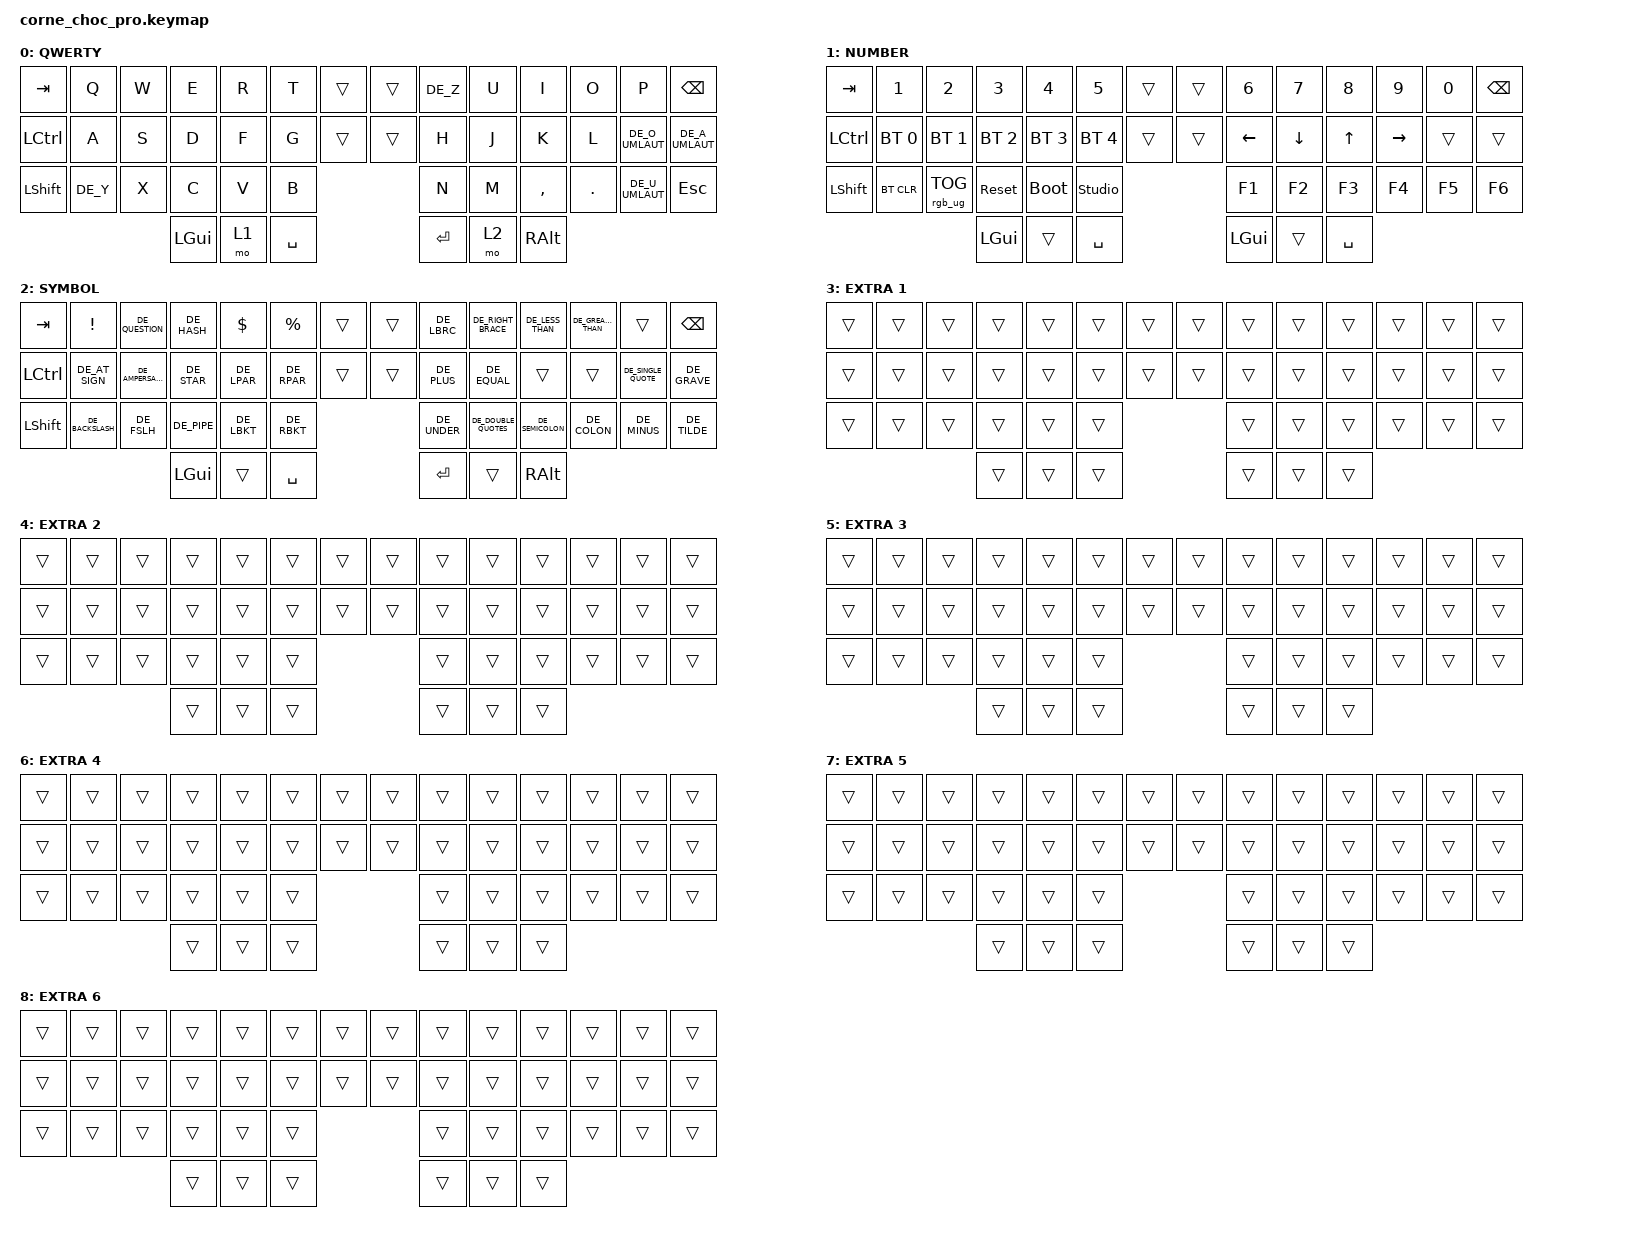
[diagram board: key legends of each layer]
/*
 * Copyright (c) 2020 The ZMK Contributors
 *
 * SPDX-License-Identifier: MIT
 */

#include "keys_de.h"
#include <behaviors.dtsi>
#include <dt-bindings/zmk/bt.h>
#include <dt-bindings/zmk/keys.h>
#include <dt-bindings/zmk/rgb.h>

/ {
    chosen { zmk,physical-layout = &default_layout; };
};

/ {
    combos {
        compatible = "zmk,combos";

        Doppelpunkt {
            bindings = <&kp DE_COLON>;
            key-positions = <28 26>;
            layers = <0>;
        };
    };

    keymap {
        compatible = "zmk,keymap";

        default_layer {
            display-name = "QWERTY";

            // --------------------------------------------------------------------------------
            // |  TAB |  Q  |  W  |  E  |  R  |  T  |  MUTE |  PP   |  Y  |  U   |  I  |  O  |  P  | BSPC |
            // | CTRL |  A  |  S  |  D  |  F  |  G  |  LALT |  RALT |  H  |  J   |  K  |  L  |  ;  |  '   |
            // | SHFT |  Z  |  X  |  C  |  V  |  B  |               |  N  |  M   |  ,  |  .  |  /  | ESC  |
            //                    | GUI | LWR | SPC |               | ENT | RSE  | ALT |

            bindings = <
&kp TAB    &kp Q     &kp W  &kp E     &kp R  &kp T      &trans  &trans  &kp DE_Z  &kp U  &kp I      &kp O    &kp P            &kp BSPC
&kp LCTRL  &kp A     &kp S  &kp D     &kp F  &kp G      &trans  &trans  &kp H     &kp J  &kp K      &kp L    &kp DE_O_UMLAUT  &kp DE_A_UMLAUT
&kp LSHFT  &kp DE_Y  &kp X  &kp C     &kp V  &kp B                      &kp N     &kp M  &kp COMMA  &kp DOT  &kp DE_U_UMLAUT  &kp ESC
                            &kp LGUI  &mo 1  &kp SPACE                  &kp RET   &mo 2  &kp RALT
            >;
        };

        lower_layer {
            display-name = "NUMBER";

            // -----------------------------------------------------------------------------------------
            // |  TAB |  1  |  2  |  3  |  4  |  5    |  LCTRL | RCTRL |  6  |  7  |  8  |  9  |  0  | BSPC |
            // | CTRL | BT1 | BT2 | BT3 | BT4 | BT5   |  LALT  | RALT  | LFT | DWN |  UP | RGT |     |      |
            // | SHFT | BTCR| RGB | RST | BOOT| Unlock|        |       |     |     |     |     |     |      |
            //                    | GUI |     | SPC   |        | ENT   |     | ALT |

            bindings = <
&kp TAB    &kp N1        &kp N2           &kp N3        &kp N4        &kp N5          &trans  &trans  &kp N6    &kp N7    &kp N8     &kp N9     &kp N0  &kp BSPC
&kp LCTRL  &bt BT_SEL 0  &bt BT_SEL 1     &bt BT_SEL 2  &bt BT_SEL 3  &bt BT_SEL 4    &trans  &trans  &kp LEFT  &kp DOWN  &kp UP     &kp RIGHT  &trans  &trans
&kp LSHFT  &bt BT_CLR    &rgb_ug RGB_TOG  &sys_reset    &bootloader   &studio_unlock                  &kp F1    &kp F2    &kp F3     &kp F4     &kp F5  &kp F6
                                          &kp LGUI      &trans        &kp SPACE                       &kp LGUI  &trans    &kp SPACE
            >;
        };

        raise_layer {
            display-name = "SYMBOL";

            // -----------------------------------------------------------------------------------------
            // |  TAB |  !  |  @  |  #  |  $  |  %  | LCTRL | RCTRL |  ^  |  &  |  *  |  (  |  )  | BSPC |
            // | CTRL |     |     |     |     |     |  LALT | RALT  |  -  |  =  |  [  |  ]  |  \  |  `   |
            // | SHFT |     |     |     |     |     |               |  _  |  +  |  {  |  }  | "|" |  ~   |
            //                    | GUI |     | SPC |               | ENT |     | ALT |

            bindings = <
&kp TAB    &kp EXCL          &kp DE_QUESTION   &kp DE_HASH  &kp DLLR     &kp PRCNT    &trans  &trans  &kp DE_LBRC   &kp DE_RIGHT_BRACE    &kp DE_LESS_THAN  &kp DE_GREATER_THAN  &trans               &kp BSPC
&kp LCTRL  &kp DE_AT_SIGN    &kp DE_AMPERSAND  &kp DE_STAR  &kp DE_LPAR  &kp DE_RPAR  &trans  &trans  &kp DE_PLUS   &kp DE_EQUAL          &trans            &trans               &kp DE_SINGLE_QUOTE  &kp DE_GRAVE
&kp LSHFT  &kp DE_BACKSLASH  &kp DE_FSLH       &kp DE_PIPE  &kp DE_LBKT  &kp DE_RBKT                  &kp DE_UNDER  &kp DE_DOUBLE_QUOTES  &kp DE_SEMICOLON  &kp DE_COLON         &kp DE_MINUS         &kp DE_TILDE
                                               &kp LGUI     &trans       &kp SPACE                    &kp RET       &trans                &kp RALT
            >;
        };

        extra_layer_1 {
            display-name = "EXTRA 1";
            bindings = <
&trans  &trans  &trans  &trans  &trans  &trans  &trans  &trans  &trans  &trans  &trans  &trans  &trans  &trans
&trans  &trans  &trans  &trans  &trans  &trans  &trans  &trans  &trans  &trans  &trans  &trans  &trans  &trans
&trans  &trans  &trans  &trans  &trans  &trans                  &trans  &trans  &trans  &trans  &trans  &trans
                        &trans  &trans  &trans                  &trans  &trans  &trans
            >;
        };

        extra_layer_2 {
            display-name = "EXTRA 2";
            bindings = <
&trans  &trans  &trans  &trans  &trans  &trans  &trans  &trans  &trans  &trans  &trans  &trans  &trans  &trans
&trans  &trans  &trans  &trans  &trans  &trans  &trans  &trans  &trans  &trans  &trans  &trans  &trans  &trans
&trans  &trans  &trans  &trans  &trans  &trans                  &trans  &trans  &trans  &trans  &trans  &trans
                        &trans  &trans  &trans                  &trans  &trans  &trans
            >;
        };

        extra_layer_3 {
            display-name = "EXTRA 3";
            bindings = <
&trans  &trans  &trans  &trans  &trans  &trans  &trans  &trans  &trans  &trans  &trans  &trans  &trans  &trans
&trans  &trans  &trans  &trans  &trans  &trans  &trans  &trans  &trans  &trans  &trans  &trans  &trans  &trans
&trans  &trans  &trans  &trans  &trans  &trans                  &trans  &trans  &trans  &trans  &trans  &trans
                        &trans  &trans  &trans                  &trans  &trans  &trans
            >;
        };

        extra_layer_4 {
            display-name = "EXTRA 4";
            bindings = <
&trans  &trans  &trans  &trans  &trans  &trans  &trans  &trans  &trans  &trans  &trans  &trans  &trans  &trans
&trans  &trans  &trans  &trans  &trans  &trans  &trans  &trans  &trans  &trans  &trans  &trans  &trans  &trans
&trans  &trans  &trans  &trans  &trans  &trans                  &trans  &trans  &trans  &trans  &trans  &trans
                        &trans  &trans  &trans                  &trans  &trans  &trans
            >;
        };

        extra_layer_5 {
            display-name = "EXTRA 5";
            bindings = <
&trans  &trans  &trans  &trans  &trans  &trans  &trans  &trans  &trans  &trans  &trans  &trans  &trans  &trans
&trans  &trans  &trans  &trans  &trans  &trans  &trans  &trans  &trans  &trans  &trans  &trans  &trans  &trans
&trans  &trans  &trans  &trans  &trans  &trans                  &trans  &trans  &trans  &trans  &trans  &trans
                        &trans  &trans  &trans                  &trans  &trans  &trans
            >;
        };

        extra_layer_6 {
            display-name = "EXTRA 6";
            bindings = <
&trans  &trans  &trans  &trans  &trans  &trans  &trans  &trans  &trans  &trans  &trans  &trans  &trans  &trans
&trans  &trans  &trans  &trans  &trans  &trans  &trans  &trans  &trans  &trans  &trans  &trans  &trans  &trans
&trans  &trans  &trans  &trans  &trans  &trans                  &trans  &trans  &trans  &trans  &trans  &trans
                        &trans  &trans  &trans                  &trans  &trans  &trans
            >;
        };
    };
};
